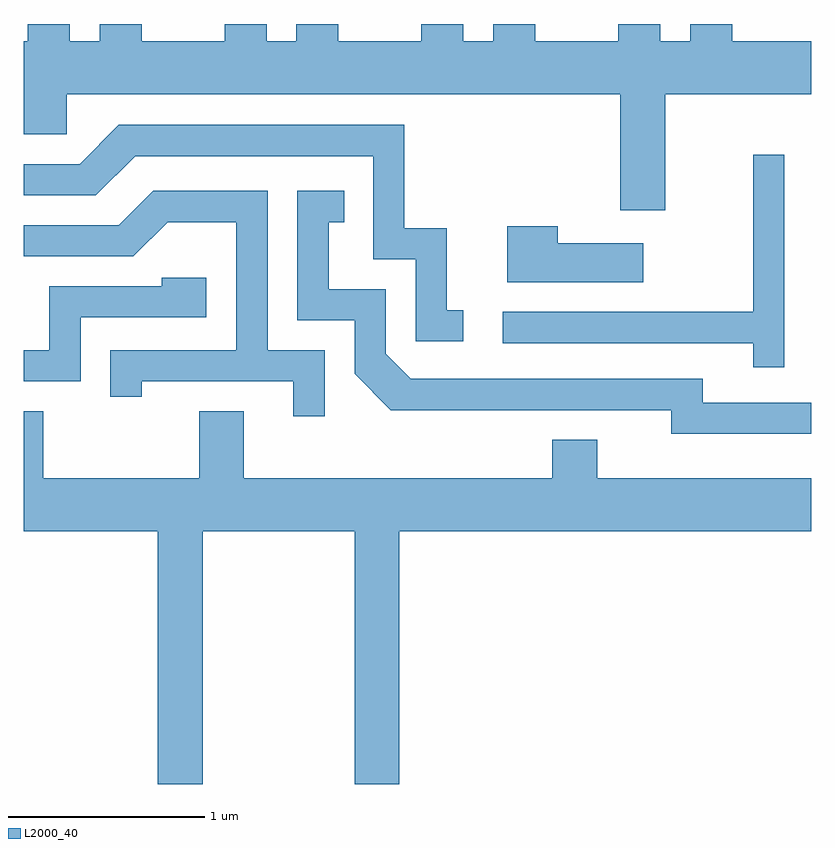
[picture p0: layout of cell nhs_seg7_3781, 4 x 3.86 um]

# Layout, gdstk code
import gdstk
lib = gdstk.Library(unit=1e-6, precision=1e-09)
def P(c, l, *ps):  # polygons
    for p in ps: c.add(gdstk.Polygon(p, *l))
L2000_40 = (2000, 40)

nhs_seg7_3781 = lib.new_cell('nhs_seg7_3781')
P(nhs_seg7_3781, L2000_40, [(304.869,1689.896),(305.611,1689.896),(305.611,1690.164),(305.209,1690.164),(305.209,1690.252),(304.996,1690.252),(304.996,1690.164),(304.844,1690.164),(304.844,1690.252),(304.631,1690.252),(304.631,1690.164),(304.209,1690.164),(304.209,1690.252),(303.996,1690.252),(303.996,1690.164),(303.844,1690.164),(303.844,1690.252),(303.631,1690.252),(303.631,1690.164),(303.209,1690.164),(303.209,1690.252),(302.996,1690.252),(302.996,1690.164),(302.844,1690.164),(302.844,1690.252),(302.631,1690.252),(302.631,1690.164),(302.209,1690.164),(302.209,1690.252),(301.996,1690.252),(301.996,1690.164),(301.844,1690.164),(301.844,1690.252),(301.631,1690.252),(301.631,1690.164),(301.611,1690.164),(301.611,1689.691),(301.829,1689.691),(301.829,1689.896),(304.641,1689.896),(304.641,1689.306),(304.869,1689.306)],
  [(303.843,1688.799),(303.759,1688.799),(303.759,1689.214),(303.544,1689.214),(303.544,1689.739),(302.094,1689.739),(301.894,1689.539),(301.611,1689.539),(301.611,1689.381),(301.977,1689.381),(302.177,1689.581),(303.386,1689.581),(303.386,1689.056),(303.601,1689.056),(303.601,1688.641),(303.843,1688.641)],
  [(305.474,1689.588),(305.316,1689.588),(305.316,1688.789),(304.043,1688.789),(304.043,1688.631),(305.316,1688.631),(305.316,1688.508),(305.474,1688.508)],
  [(303.139,1688.594),(302.849,1688.594),(302.849,1689.404),(302.269,1689.404),(302.094,1689.229),(301.611,1689.229),(301.611,1689.071),(302.167,1689.071),(302.342,1689.246),(302.691,1689.246),(302.691,1688.594),(302.051,1688.594),(302.051,1688.358),(302.209,1688.358),(302.209,1688.436),(302.981,1688.436),(302.981,1688.258),(303.139,1688.258)],
  [(305.611,1688.329),(305.059,1688.329),(305.059,1688.449),(303.577,1688.449),(303.449,1688.577),(303.449,1688.904),(303.159,1688.904),(303.159,1689.246),(303.238,1689.246),(303.238,1689.404),(303.001,1689.404),(303.001,1688.746),(303.291,1688.746),(303.291,1688.474),(303.474,1688.291),(304.901,1688.291),(304.901,1688.171),(305.611,1688.171)],
  [(304.759,1689.139),(304.324,1689.139),(304.324,1689.224),(304.066,1689.224),(304.066,1688.941),(304.759,1688.941)],
  [(301.899,1688.761),(302.539,1688.761),(302.539,1688.964),(302.311,1688.964),(302.311,1688.919),(301.741,1688.919),(301.741,1688.594),(301.611,1688.594),(301.611,1688.436),(301.899,1688.436)],
  [(302.519,1687.676),(303.291,1687.676),(303.291,1686.391),(303.519,1686.391),(303.519,1687.676),(305.611,1687.676),(305.611,1687.944),(304.524,1687.944),(304.524,1688.139),(304.296,1688.139),(304.296,1687.944),(302.729,1687.944),(302.729,1688.284),(302.501,1688.284),(302.501,1687.944),(301.709,1687.944),(301.709,1688.284),(301.611,1688.284),(301.611,1687.676),(302.291,1687.676),(302.291,1686.391),(302.519,1686.391)])

lib.write_gds('nhs_seg7_3781.gds')
